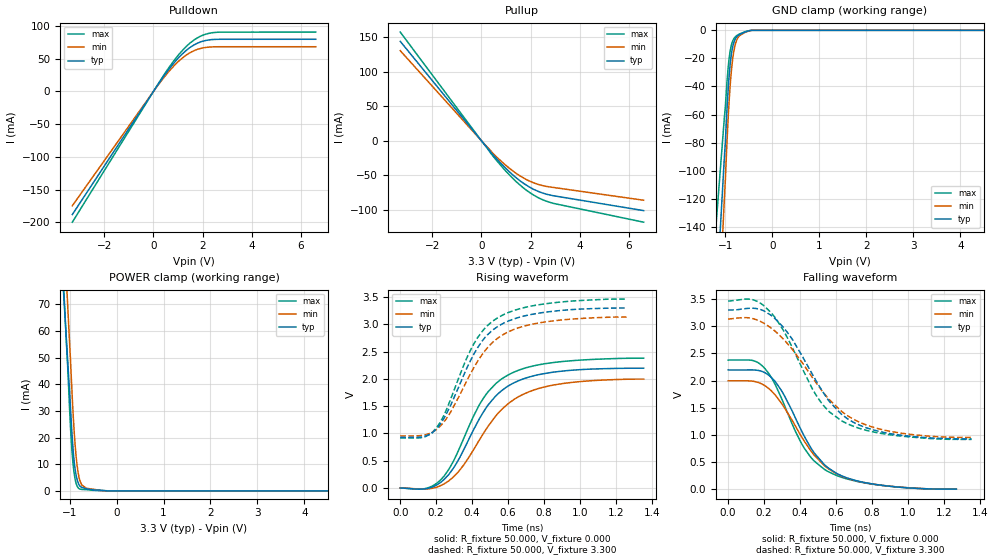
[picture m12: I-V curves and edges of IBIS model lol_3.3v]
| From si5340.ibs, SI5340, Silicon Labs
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[Model]   lol_3.3v
Model_type Output
Vref=0.000E+00
Rref=1.000E+06
Cref=5.000E-12
Vmeas=1.650E+00
C_comp   8.890E-13   8.710E-13   9.070E-13
[Voltage Range]   3.300E+00   3.135E+00   3.465E+00
[POWER Clamp Reference]   3.300E+00   3.135E+00   3.465E+00
[GND Clamp Reference]   0.000E+00   0.000E+00   0.000E+00
[Pullup Reference]   3.300E+00   3.135E+00   3.465E+00
[Pulldown Reference]   0.000E+00   0.000E+00   0.000E+00
[Temperature Range]   25   85   -40
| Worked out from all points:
|   slope of the pulldown table from 0 to 0.495 V, typ, clamps not added: 18.3 ohm
|   slope of the pullup table from 0 to 0.495 V, typ, clamps not added: 23.1 ohm
|   GND clamp passes 1 mA (typ) near -0.56 V on its own axis
|   POWER clamp passes 1 mA (typ) near -0.68 V on its own axis
|   rising waveform, R_fixture 50.000, V_fixture 0.000: 20-80 % time 244ps typ, 274ps min, 235ps max; typ from 0 V to 2.2 V
|   falling waveform, R_fixture 50.000, V_fixture 0.000: 20-80 % time 233ps typ, 255ps min, 229ps max; typ from 2.2 V to 0 V
|   rising waveform, R_fixture 50.000, V_fixture 3.300: 20-80 % time 228ps typ, 244ps min, 223ps max; typ from 0.927 V to 3.3 V
|   falling waveform, R_fixture 50.000, V_fixture 3.300: 20-80 % time 281ps typ, 323ps min, 261ps max; typ from 3.3 V to 0.927 V
[GND Clamp]
-3.3V     -1.436A    -1.717A    -1.045A
-1.02V    -89.67mA   -118.9mA   -61.49mA
-1V       -79.39mA   -106.1mA   -54.31mA
-960mV    -52.63mA   -75.46mA   -34.11mA
-940mV    -41.54mA   -62.01mA   -26.18mA
-920mV    -32.26mA   -50.2mA    -19.87mA
-880mV    -18.89mA   -31.67mA   -11.54mA
-840mV    -11.04mA   -19.21mA   -7.246mA
-800mV    -6.875mA   -11.49mA   -5.071mA
-700mV    -2.952mA   -3.837mA   -2.595mA
-440mV    0A         0A         0A
6.6V      0A         0A         0A
[Power Clamp]
-3.3V     710.5mA    859.6mA    855.8mA
-1.06V    54.73mA    76.68mA    53.22mA
-1.04V    48.87mA    69.71mA    46.76mA
-980mV    31.13mA    49.18mA    23.97mA
-960mV    24.79mA    41.47mA    17.91mA
-920mV    14.46mA    27.6mA     9.214mA
-860mV    5.881mA    12.9mA     2.789mA
-820mV    3.156mA    7.135mA    1.225mA
-780mV    1.83mA     3.874mA    684.6uA
-640mV    791.9uA    991.2uA    488.1uA
-180mV    0A         0A         0A
6.6V      0A         0A         0A
[Pullup]
-3.3V     144.2mA    130.6mA    157.6mA
520mV     -22.44mA   -20.18mA   -24.48mA
1.16V     -45.89mA   -40.57mA   -50.33mA
1.44V     -54.47mA   -48.02mA   -60.27mA
1.8V      -63.84mA   -55.83mA   -71.07mA
2.34V     -73.96mA   -63.77mA   -83.22mA
2.88V     -79.57mA   -67.67mA   -90.49mA
6.6V      -101.5mA   -86.41mA   -118.3mA
[Pulldown]
-3.3V     -188.2mA   -174.7mA   -199.9mA
360mV     19.94mA    18.11mA    21.32mA
620mV     33.41mA    30.21mA    35.92mA
960mV     48.94mA    43.88mA    53.13mA
1.22V     58.86mA    52.3mA     64.31mA
1.48V     66.98mA    59.06mA    73.72mA
1.76V     73.17mA    63.92mA    81.22mA
1.98V     76.46mA    66.2mA     85.47mA
2.24V     78.61mA    67.6mA     88.58mA
2.54V     79.53mA    68.19mA    90.25mA
6.6V      79.69mA    68.26mA    90.65mA
[Rising Waveform]
R_fixture = 50.000
V_fixture = 0.000
V_fixture_min = 0.000
V_fixture_max = 0.000
|  time   V(typ)   V(min)   V(max)
0s        0V         0V         0V
140ps     -15mV      -20.39mV   -9.776mV
230ps     116.2mV    50.36mV    165.6mV
330ps     550.3mV    322mV      730.6mV
460ps     1.377V     984.8mV    1.63V
530ps     1.682V     1.314V     1.908V
610ps     1.888V     1.57V      2.089V
715ps     2.033V     1.762V     2.218V
860ps     2.127V     1.892V     2.304V
1.355ns   2.197V     1.997V     2.38V
[Falling Waveform]
R_fixture = 50.000
V_fixture = 0.000
V_fixture_min = 0.000
V_fixture_max = 0.000
|  time   V(typ)   V(min)   V(max)
0s        2.197V     1.997V     2.38V
150ps     2.195V     1.982V     2.358V
240ps     2.06V      1.813V     2.06V
305ps     1.77V      1.542V     1.611V
420ps     999.4mV    904.5mV    775.8mV
480ps     663.4mV    623.6mV    515.3mV
550ps     410.3mV    395.9mV    335.9mV
655ps     215.3mV    209.9mV    194.5mV
790ps     103.6mV    102mV      98.39mV
1.27ns    0V         0V         0V
[Rising Waveform]
R_fixture = 50.000
V_fixture = 3.300
V_fixture_min = 3.135
V_fixture_max = 3.465
|  time   V(typ)   V(min)   V(max)
0s        926.8mV    954.8mV    917.3mV
130ps     941.6mV    967.6mV    931.2mV
200ps     1.076V     1.068V     1.098V
280ps     1.511V     1.389V     1.623V
410ps     2.457V     2.209V     2.645V
470ps     2.753V     2.51V      2.925V
540ps     2.956V     2.742V     3.116V
645ps     3.114V     2.923V     3.268V
780ps     3.211V     3.032V     3.365V
1.26ns    3.3V       3.135V     3.465V
[Falling Waveform]
R_fixture = 50.000
V_fixture = 3.300
V_fixture_min = 3.135
V_fixture_max = 3.465
|  time   V(typ)   V(min)   V(max)
0s        3.3V       3.135V     3.465V
140ps     3.334V     3.14V      3.488V
255ps     3.159V     2.928V     3.189V
360ps     2.746V     2.563V     2.59V
495ps     1.965V     1.935V     1.703V
560ps     1.63V      1.661V     1.435V
630ps     1.382V     1.437V     1.262V
740ps     1.167V     1.221V     1.111V
885ps     1.033V     1.077V     1.01V
1.355ns   926.8mV    954.8mV    917.3mV
[Ramp]
dV/dt_r   1.3161E+00/2.4418E-10   1.1942E+00/2.7336E-10   1.4231E+00/2.3495E-10
dV/dt_f   1.4239E+00/2.7949E-10   1.3081E+00/3.2274E-10   1.5286E+00/2.6045E-10
R_load = 50
